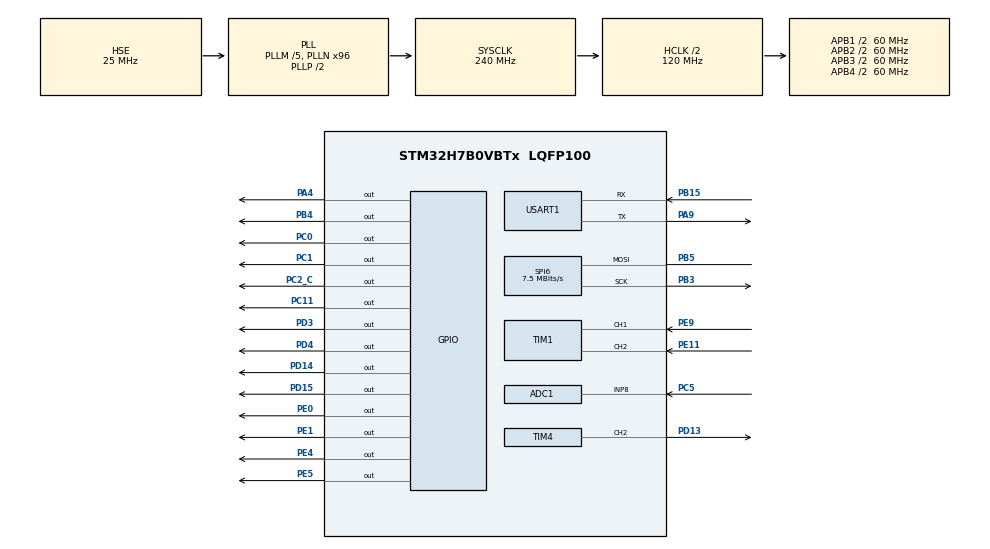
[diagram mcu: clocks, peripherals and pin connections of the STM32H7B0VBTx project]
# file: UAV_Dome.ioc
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ADC1.Channel-2\#ChannelRegularConversion=ADC_CHANNEL_8
ADC1.ClockPrescaler=ADC_CLOCK_ASYNC_DIV4
ADC1.ContinuousConvMode=DISABLE
ADC1.ConversionDataManagement=ADC_CONVERSIONDATA_DMA_CIRCULAR
ADC1.ExternalTrigConv=ADC_EXTERNALTRIG_T3_TRGO
ADC1.LowPowerAutoWait=DISABLE
ADC1.NbrOfConversionFlag=1
ADC1.OffsetNumber-2\#ChannelRegularConversion=ADC_OFFSET_NONE
ADC1.OffsetSignedSaturation-2\#ChannelRegularConversion=DISABLE
ADC1.Rank-2\#ChannelRegularConversion=1
ADC1.Resolution=ADC_RESOLUTION_14B
ADC1.SamplingTime-2\#ChannelRegularConversion=ADC_SAMPLETIME_1CYCLE_5
ADC1.master=1
CORTEX_M7.default_mode_Activation=1
Dma.ADC1.0.Direction=DMA_PERIPH_TO_MEMORY
Dma.ADC1.0.EventEnable=DISABLE
Dma.ADC1.0.FIFOMode=DMA_FIFOMODE_DISABLE
Dma.ADC1.0.Instance=DMA1_Stream0
Dma.ADC1.0.MemDataAlignment=DMA_MDATAALIGN_HALFWORD
Dma.ADC1.0.MemInc=DMA_MINC_ENABLE
Dma.ADC1.0.Mode=DMA_CIRCULAR
Dma.ADC1.0.PeriphDataAlignment=DMA_PDATAALIGN_HALFWORD
Dma.ADC1.0.PeriphInc=DMA_PINC_DISABLE
Dma.ADC1.0.Polarity=HAL_DMAMUX_REQ_GEN_RISING
Dma.ADC1.0.Priority=DMA_PRIORITY_HIGH
Dma.ADC1.0.RequestNumber=1
Dma.ADC1.0.SignalID=NONE
Dma.ADC1.0.SyncEnable=DISABLE
Dma.ADC1.0.SyncPolarity=HAL_DMAMUX_SYNC_NO_EVENT
Dma.ADC1.0.SyncRequestNumber=1
Dma.ADC1.0.SyncSignalID=NONE
Dma.Request0=ADC1
Mcu.Family=STM32H7
Mcu.Name=STM32H7B0VBTx
Mcu.Package=LQFP100
NVIC.DMA1_Stream0_IRQn=true\:0\:0\:false\:false\:true\:false\:true\:true
NVIC.PriorityGroup=NVIC_PRIORITYGROUP_4
NVIC.TIM2_IRQn=true\:0\:0\:false\:false\:true\:true\:true\:true
NVIC.USART1_IRQn=true\:0\:0\:false\:false\:true\:true\:true\:true
PA13.Mode=Serial_Wire
PA13.Signal=DEBUG_JTMS-SWDIO
PA14.Mode=Serial_Wire
PA14.Signal=DEBUG_JTCK-SWCLK
PA4.GPIO_ModeDefaultOutputPP=GPIO_MODE_OUTPUT_PP
PA4.GPIO_PuPd=GPIO_NOPULL
PA4.PinState=GPIO_PIN_SET
PA4.Signal=GPIO_Output
PA9.Mode=Asynchronous
PA9.Signal=USART1_TX
PB15.Mode=Asynchronous
PB15.Signal=USART1_RX
PB3.Mode=Simplex_Bidirectional_Master
PB3.Signal=SPI6_SCK
PB4.GPIO_PuPd=GPIO_PULLUP
PB4.Signal=GPIO_Output
PB5.Mode=Simplex_Bidirectional_Master
PB5.Signal=SPI6_MOSI
PC0.GPIO_PuPd=GPIO_PULLUP
PC0.PinState=GPIO_PIN_SET
PC0.Signal=GPIO_Output
PC1.GPIO_PuPd=GPIO_PULLUP
PC1.PinState=GPIO_PIN_SET
PC1.Signal=GPIO_Output
PC11.GPIO_Speed=GPIO_SPEED_FREQ_HIGH
PC11.PinState=GPIO_PIN_SET
PC11.Signal=GPIO_Output
PC2_C.GPIO_PuPd=GPIO_PULLUP
PC2_C.PinState=GPIO_PIN_SET
PC2_C.Signal=GPIO_Output
PC5.Signal=ADCx_INP8
PD13.Signal=S_TIM4_CH2
PD14.GPIO_ModeDefaultOutputPP=GPIO_MODE_OUTPUT_OD
PD14.GPIO_PuPd=GPIO_NOPULL
PD14.GPIO_Speed=GPIO_SPEED_FREQ_HIGH
PD14.PinState=GPIO_PIN_SET
PD14.Signal=GPIO_Output
PD15.GPIO_ModeDefaultOutputPP=GPIO_MODE_OUTPUT_OD
PD15.GPIO_PuPd=GPIO_NOPULL
PD15.GPIO_Speed=GPIO_SPEED_FREQ_HIGH
PD15.PinState=GPIO_PIN_SET
PD15.Signal=GPIO_Output
PD3.GPIO_PuPd=GPIO_NOPULL
PD3.GPIO_Speed=GPIO_SPEED_FREQ_HIGH
PD3.PinState=GPIO_PIN_SET
PD3.Signal=GPIO_Output
PD4.Signal=GPIO_Output
PE0.GPIO_PuPd=GPIO_NOPULL
PE0.GPIO_Speed=GPIO_SPEED_FREQ_HIGH
PE0.PinState=GPIO_PIN_SET
PE0.Signal=GPIO_Output
PE1.GPIO_Speed=GPIO_SPEED_FREQ_HIGH
PE1.PinState=GPIO_PIN_SET
PE1.Signal=GPIO_Output
PE11.Signal=S_TIM1_CH2
PE4.GPIO_ModeDefaultOutputPP=GPIO_MODE_OUTPUT_OD
PE4.GPIO_PuPd=GPIO_NOPULL
PE4.GPIO_Speed=GPIO_SPEED_FREQ_HIGH
PE4.PinState=GPIO_PIN_SET
PE4.Signal=GPIO_Output
PE5.GPIO_ModeDefaultOutputPP=GPIO_MODE_OUTPUT_OD
PE5.GPIO_PuPd=GPIO_NOPULL
PE5.GPIO_Speed=GPIO_SPEED_FREQ_HIGH
PE5.PinState=GPIO_PIN_SET
PE5.Signal=GPIO_Output
PE9.Signal=S_TIM1_CH1
PH0-OSC_IN.Mode=HSE-External-Oscillator
PH0-OSC_IN.Signal=RCC_OSC_IN
PH1-OSC_OUT.Mode=HSE-External-Oscillator
PH1-OSC_OUT.Signal=RCC_OSC_OUT
ProjectManager.HeapSize=0x200
ProjectManager.StackSize=0x400
ProjectManager.TargetToolchain=MDK-ARM V5
RCC.ADCFreq_Value=72000000
RCC.APB1Freq_Value=60000000
RCC.APB2Freq_Value=60000000
RCC.APB3Freq_Value=60000000
RCC.APB4Freq_Value=60000000
RCC.CDCPRE=RCC_SYSCLK_DIV2
RCC.CDPPRE=RCC_APB3_DIV2
RCC.CDPPRE1=RCC_APB1_DIV2
RCC.CDPPRE2=RCC_APB2_DIV2
RCC.CortexFreq_Value=120000000
RCC.DIVM1=5
RCC.DIVM2=5
RCC.DIVM3=5
RCC.DIVN1=96
RCC.DIVN2=72
RCC.DIVN3=130
RCC.DIVP2=5
RCC.DIVR3=20
RCC.HCLKFreq_Value=120000000
RCC.HSE_VALUE=25000000
RCC.PLL2FRACN=0
RCC.PLLSourceVirtual=RCC_PLLSOURCE_HSE
RCC.SRDPPRE=RCC_APB4_DIV2
RCC.SYSCLKFreq_VALUE=240000000
RCC.SYSCLKSource=RCC_SYSCLKSOURCE_PLLCLK
RCC.USBFreq_Value=240000000
SH.ADCx_INP8.0=ADC1_INP8,IN8-Single-Ended
SH.S_TIM1_CH1.0=TIM1_CH1,Encoder_Interface
SH.S_TIM1_CH2.0=TIM1_CH2,Encoder_Interface
SH.S_TIM4_CH2.0=TIM4_CH2,PWM Generation2 CH2
SPI6.BaudRatePrescaler=SPI_BAUDRATEPRESCALER_8
SPI6.CLKPhase=SPI_PHASE_2EDGE
SPI6.CLKPolarity=SPI_POLARITY_HIGH
SPI6.CalculateBaudRate=7.5 MBits/s
SPI6.DataSize=SPI_DATASIZE_8BIT
SPI6.Direction=SPI_DIRECTION_1LINE
SPI6.Mode=SPI_MODE_MASTER
SPI6.VirtualType=VM_MASTER
STMicroelectronics.X-CUBE-ALGOBUILD.1.3.0.LibraryCcDSPOoLibraryJjDSPOoLibrary=true
TIM1.EncoderMode=TIM_ENCODERMODE_TI12
TIM2.Period=5000-1
TIM2.Prescaler=720-1
TIM3.AutoReloadPreload=TIM_AUTORELOAD_PRELOAD_ENABLE
TIM3.Period=500-1
TIM3.Prescaler=72-1
TIM3.TIM_MasterOutputTrigger=TIM_TRGO_UPDATE
TIM3.TIM_MasterSlaveMode=TIM_MASTERSLAVEMODE_ENABLE
TIM4.Channel-PWM\ Generation2\ CH2=TIM_CHANNEL_2
TIM4.Period=1000-1
TIM4.Prescaler=9-1
USART1.VirtualMode-Asynchronous=VM_ASYNC
USART1.VirtualMode-Half_duplex(single_wire_mode)=VM_ASYNC
USART1.VirtualMode-Multiprocessor_communication=VM_ASYNC
USART1.VirtualMode-Synchronous=VM_SYNC
VP_STMicroelectronics.X-CUBE-ALGOBUILD_VS_DSPOoLibraryJjLibrary_1.3.0_1.3.0.Mode=DSPOoLibraryJjLibrary
VP_TIM2_VS_ClockSourceINT.Mode=Internal
VP_TIM3_VS_ClockSourceINT.Mode=Internal
VP_TIM4_VS_ClockSourceINT.Mode=Internal
board=custom

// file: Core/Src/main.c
/* USER CODE BEGIN Header */
/**
  ******************************************************************************
  * @file           : main.c
  * @brief          : Main program body
  ******************************************************************************
  * @attention
  *
  * Copyright (c) 2023 STMicroelectronics.
  * All rights reserved.
  *
  * This software is licensed under terms that can be found in the LICENSE file
  * in the root directory of this software component.
  * If no LICENSE file comes with this software, it is provided AS-IS.
  *
  ******************************************************************************
  */
/* USER CODE END Header */
#include "main.h"
#include "adc.h"
#include "dma.h"
#include "spi.h"
#include "tim.h"
#include "usart.h"
#include "gpio.h"

/* USER CODE BEGIN Includes */
#include "stdio.h"
#include "string.h"
#include "tftlcd.h"
#include "OLED.h"
#include "Bsp_MPU6050.h"
#include "Bsp_MS5611.h"
#include "FFT_Handle.h"

/* USER CODE END Includes */

/* USER CODE BEGIN PTD */
int PD13_Duty = 0;
extern int TimeEncoder;
float iError, dError;
//uint16_t ACCX,ACCY,ACCZ,ACCZ1;
extern int16_t AX, AY, AZ, GX, GY, GZ;
uint16_t adc_buf[2048] = {0};
extern uint8_t rx_bit;          //单字节接收缓冲

//#define RXBUFFERSIZE  256     //最大接收字节数
//char RxBuffer[RXBUFFERSIZE];   //接收数据
//uint8_t aRxBuffer[1];			    //接收中断缓冲
//uint8_t Uart1_Rx_Cnt = 0;

int fputc(int ch, FILE *f)
{
    uint8_t temp[1] = {ch};
    HAL_UART_Transmit(&huart1, temp, 1, 2);
    return ch;
}
int fgetc(FILE *f)
{
  uint8_t ch = 0;
  HAL_UART_Receive(&huart1, &ch, 1, 0xffff);//HAL库串口接收函数
  return ch;
}
/* USER CODE END PTD */

/* USER CODE BEGIN PM */

/* 私有类型定义 --------------------------------------------------------------*/
//定义PID结构体
typedef struct
{
    float   SetPoint;                                 //设定目标 Desired Value
    float   SumError;                                 //误差累计
    float   Proportion;                               //比例常数 Proportional Const
    float   Integral;                                 //积分常数 Integral Const
    float   Derivative;                               //微分常数 Derivative Const
    float   LastError;                                //Error[-1]
    float   PrevError;                                //Error[-2]
} PID;

/* 私有宏定义 ----------------------------------------------------------------*/
/*************************************/
//定义PID相关宏
// 这三个参数设定对电机运行影响非常大
/*************************************/
#define  P_DATA      29                                //P参数
#define  I_DATA    1.5                         //I参数
#define  D_DATA     0// 0.2                                //D参数

static PID sPID = {0};
static PID *sptr = &sPID;

/* 扩展变量 ------------------------------------------------------------------*/
//extern uint32 CaptureNumber;

/* 私有函数原形 --------------------------------------------------------------*/
/* 函数体 --------------------------------------------------------------------*/

/**************PID参数初始化********************************/
void IncPIDInit(void)
{
    sptr->LastError = 0;          //Error[-1]
    sptr->PrevError = 0;          //Error[-2]
    sptr->Proportion = P_DATA;    //比例常数 Proportional Const
    sptr->Integral = I_DATA;      //积分常数  Integral Const
    sptr->Derivative = D_DATA;    //微分常数 Derivative Const
    sptr->SetPoint = 150;         //设定目标Desired Value
}
/********************增量式PID控制设计************************************/
int IncPIDCalc(int NextPoint)
{
    int iError, iIncpid;                                //当前误差
    //sptr->SetPoint =80;
    iError = sptr->SetPoint - NextPoint;                //增量计算
    iIncpid = (sptr->Proportion * iError)               //E[k]项
              - (sptr->Integral * sptr->LastError)    //E[k-1]项
              + (sptr->Derivative * sptr->PrevError); //E[k-2]项

    sptr->PrevError = sptr->LastError;                  //存储误差，用于下次计算
    sptr->LastError = iError;
    return(iIncpid);                                    //返回增量值
}

/********************位置式 PID 控制设计************************************/
int LocPIDCalc(float NextPoint)
{

    float PWM = 0;
    iError = sptr->SetPoint - NextPoint; //偏差
    sptr->SumError += iError; //积分
    dError = iError - sptr->LastError; //微分
    sptr->LastError = iError;
    PWM = (sptr->Proportion * iError //比例项
           + sptr->Integral * sptr->SumError //积分项
           + sptr->Derivative * dError); //微分项
    return PWM;
}
/* USER CODE END PM */

void SystemClock_Config(void);
static void MPU_Config(void);

int main(void)
{

  /* MPU Configuration--------------------------------------------------------*/
  MPU_Config();

  /* MCU Configuration--------------------------------------------------------*/

  /* Reset of all peripherals, Initializes the Flash interface and the Systick. */
  HAL_Init();

  /* Configure the system clock */
  SystemClock_Config();

  /* Initialize all configured peripherals */
  MX_GPIO_Init();
  MX_USART1_UART_Init();
  MX_SPI6_Init();
  MX_TIM4_Init();
  MX_DMA_Init();
  MX_TIM2_Init();
  MX_ADC1_Init();
  MX_TIM3_Init();
  MX_TIM1_Init();
  /* USER CODE BEGIN 2 */
    //__HAL_SPI_ENABLE(&hspi6);
    HAL_TIM_PWM_Start(&htim4, TIM_CHANNEL_2);
    HAL_TIM_Base_Start_IT(&htim2);
    HAL_TIM_Encoder_Start(&htim1, TIM_CHANNEL_ALL);

		HAL_UART_Receive_IT(&huart1, (uint8_t *)&rx_bit, 1);//接收中断开启函数
	// HAL_UART_Receive_IT(&huart1, (uint8_t *)&aRxBuffer, 1);//开串口中断
    /*启动ADC的DMA传输 配合下面定时器来触发ADC转换*/
    HAL_ADC_Start_DMA(&hadc1, (uint32_t*)adc_buf,2048);
//    // HAL_Delay(10);
//    /*开启定时器 用溢出事件来触发ADC转换*/
    HAL_TIM_Base_Start(&htim3);
    HAL_ADC_Start(&hadc1);
    //LCD_Init();
    //HAL_Delay(100);
     OLED_Init();
    //LCD_Clear(BLACK); 		//清屏
    //BACK_COLOR = BLACK;
    //POINT_COLOR = CYAN;
    //LCD_ShowString(0, 0, 160, 12, 12, "Boring_TECH");
    //LCD_ShowString(0, 15, 160, 12, 12, "TFTLCD TEST 160*80");
    //LCD_ShowString(0, 30, 160, 16, 12, "STM32H723VGT6");
    //LCD_ShowString(0, 45, 160, 12, 12, "2021/8/20");
    //HAL_Delay(1000);
    IncPIDInit();
    //	MS5611_Init();
    MPU6050_Init();
/***********************************************************************/
	//	ESP8266_Link_aliyun_Init();
    //			MPU6050_IIC_Stop();
    // OLED_ShowNum(3,1,ack,3);
    //    uint8_t ID=MPU6050_GetID();
    //    OLED_ShowHexNum(2, 1,ID, 3);
  /* USER CODE END 2 */

  /* Infinite loop */
    while (1)
    {

    /* USER CODE BEGIN 3 */

		MPU6050_GetData(&AX,&AY,&AZ,&GX,&GY,&GZ);

        //				MS561101BA_GetTemperature(MS561101BA_D2_OSR_4096);
        //	      MS561101BA_GetPressure(MS561101BA_D1_OSR_4096);

        //	OLED_ShowNum(3,6,MS5611_Pressure,5);
        //printf("接收到的数据为：\r\n");
        float Angle_X = 0, Angle_Y = 0;
        Angle_X = atan2(AX, AZ) * 180 / 3.14f;
        Angle_Y = atan2(AY, AZ) * 180 / 3.14f;

        OLED_ShowSignedNum(2, 1, AX, 4);
        //OLED_ShowSignedNum(3, 1, AY, 4);
        OLED_ShowSignedNum(4, 1, AZ, 4);
        //				OLED_ShowSignedNum(2, 8, GX, 4);
        //			  OLED_ShowSignedNum(3, 8, GY, 4);
        //				OLED_ShowSignedNum(4, 8, GZ, 4);
        OLED_ShowSignedNum(3, 8, Angle_X, 4);
        OLED_ShowSignedNum(4, 8, Angle_Y, 4);
        OLED_ShowString(1, 1, "Speed:");
        OLED_ShowSignedNum(1, 7, TimeEncoder, 5);
        //			PD13_Duty =500;
        //			 __HAL_TIM_SetCompare(&htim4, TIM_CHANNEL_2, PD13_Duty);
       // while(1);
//		  HAL_Delay(200);
//			printf("AT+MQTTPUB=0,\"/ib4k0kkSwCQ/MyESP8266/user/update\",\"{\\\"Angle_X=%f\\\"}\",1,0\r\n",Angle_X);
//			HAL_Delay(2000);
//
			 HAL_Delay(200);
    }
  /* USER CODE END 3 */
}

void SystemClock_Config(void)
{
  RCC_OscInitTypeDef RCC_OscInitStruct = {0};
  RCC_ClkInitTypeDef RCC_ClkInitStruct = {0};

  /** Supply configuration update enable
  */
  HAL_PWREx_ConfigSupply(PWR_LDO_SUPPLY);

  /** Configure the main internal regulator output voltage
  */
  __HAL_PWR_VOLTAGESCALING_CONFIG(PWR_REGULATOR_VOLTAGE_SCALE2);

  while(!__HAL_PWR_GET_FLAG(PWR_FLAG_VOSRDY)) {}

  /** Macro to configure the PLL clock source
  */
  __HAL_RCC_PLL_PLLSOURCE_CONFIG(RCC_PLLSOURCE_HSE);

  /** Initializes the RCC Oscillators according to the specified parameters
  * in the RCC_OscInitTypeDef structure.
  */
  RCC_OscInitStruct.OscillatorType = RCC_OSCILLATORTYPE_HSE;
  RCC_OscInitStruct.HSEState = RCC_HSE_ON;
  RCC_OscInitStruct.PLL.PLLState = RCC_PLL_ON;
  RCC_OscInitStruct.PLL.PLLSource = RCC_PLLSOURCE_HSE;
  RCC_OscInitStruct.PLL.PLLM = 5;
  RCC_OscInitStruct.PLL.PLLN = 96;
  RCC_OscInitStruct.PLL.PLLP = 2;
  RCC_OscInitStruct.PLL.PLLQ = 2;
  RCC_OscInitStruct.PLL.PLLR = 2;
  RCC_OscInitStruct.PLL.PLLRGE = RCC_PLL1VCIRANGE_2;
  RCC_OscInitStruct.PLL.PLLVCOSEL = RCC_PLL1VCOWIDE;
  RCC_OscInitStruct.PLL.PLLFRACN = 0;
  if (HAL_RCC_OscConfig(&RCC_OscInitStruct) != HAL_OK)
  {
    Error_Handler();
  }

  /** Initializes the CPU, AHB and APB buses clocks
  */
  RCC_ClkInitStruct.ClockType = RCC_CLOCKTYPE_HCLK|RCC_CLOCKTYPE_SYSCLK
                              |RCC_CLOCKTYPE_PCLK1|RCC_CLOCKTYPE_PCLK2
                              |RCC_CLOCKTYPE_D3PCLK1|RCC_CLOCKTYPE_D1PCLK1;
  RCC_ClkInitStruct.SYSCLKSource = RCC_SYSCLKSOURCE_PLLCLK;
  RCC_ClkInitStruct.SYSCLKDivider = RCC_SYSCLK_DIV2;
  RCC_ClkInitStruct.AHBCLKDivider = RCC_HCLK_DIV1;
  RCC_ClkInitStruct.APB3CLKDivider = RCC_APB3_DIV2;
  RCC_ClkInitStruct.APB1CLKDivider = RCC_APB1_DIV2;
  RCC_ClkInitStruct.APB2CLKDivider = RCC_APB2_DIV2;
  RCC_ClkInitStruct.APB4CLKDivider = RCC_APB4_DIV2;

  if (HAL_RCC_ClockConfig(&RCC_ClkInitStruct, FLASH_LATENCY_3) != HAL_OK)
  {
    Error_Handler();
  }
}

/* MPU Configuration */

void MPU_Config(void)
{
  MPU_Region_InitTypeDef MPU_InitStruct = {0};

  /* Disables the MPU */
  HAL_MPU_Disable();

  /** Initializes and configures the Region and the memory to be protected
  */
  MPU_InitStruct.Enable = MPU_REGION_ENABLE;
  MPU_InitStruct.Number = MPU_REGION_NUMBER0;
  MPU_InitStruct.BaseAddress = 0x0;
  MPU_InitStruct.Size = MPU_REGION_SIZE_4GB;
  MPU_InitStruct.SubRegionDisable = 0x87;
  MPU_InitStruct.TypeExtField = MPU_TEX_LEVEL0;
  MPU_InitStruct.AccessPermission = MPU_REGION_NO_ACCESS;
  MPU_InitStruct.DisableExec = MPU_INSTRUCTION_ACCESS_DISABLE;
  MPU_InitStruct.IsShareable = MPU_ACCESS_SHAREABLE;
  MPU_InitStruct.IsCacheable = MPU_ACCESS_NOT_CACHEABLE;
  MPU_InitStruct.IsBufferable = MPU_ACCESS_NOT_BUFFERABLE;

  HAL_MPU_ConfigRegion(&MPU_InitStruct);
  /* Enables the MPU */
  HAL_MPU_Enable(MPU_PRIVILEGED_DEFAULT);

}

void Error_Handler(void)
{
    __disable_irq();
    while (1)
    {
    }
}
